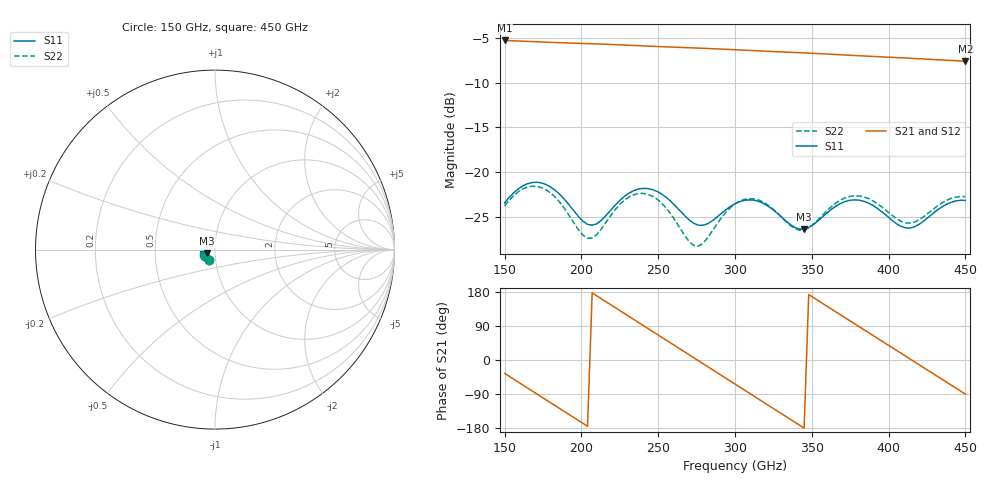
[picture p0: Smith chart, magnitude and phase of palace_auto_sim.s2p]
#  GHZ S DB R 50
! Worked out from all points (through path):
!   101 points, 150 GHz to 450 GHz, reference 50 ohm
!   highest |S21| = -5.29 dB at 150 GHz (marker M1); lowest = -7.6 dB at 450 GHz (marker M2)
!   group delay of S21, straight-line fit = 7.18 ps
!   lowest |S11| = -26.3 dB at 345 GHz (marker M3), VSWR 1.10, Z = 45.8 - j1.8 ohm
!   |S11| at or under -10 dB: start of sweep to end of sweep
!   |S22| runs from -28.3 to -21.6 dB; largest |S21 - S12| = 6e-14
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150  -23.42 -122.1  -5.29 -35.2  -5.29 -35.2  -23.76 -119.6
162  -21.51 -131.0  -5.37 -66.4  -5.37 -66.4  -21.85 -130.2
174  -21.19 -145.8  -5.46 -97.4  -5.46 -97.4  -21.71 -146.2
186  -22.48 -158.3  -5.54 -128.4  -5.54 -128.4  -23.36 -159.3
201  -25.46 -156.3  -5.62 -167.2  -5.62 -167.2  -27.03 -153.6
213  -25.36 -139.7  -5.69 161.7  -5.69 161.7  -26.33 -131.9
228  -22.69 -139.5  -5.80 122.7  -5.80 122.7  -23.12 -134.5
240  -21.80 -151.0  -5.89 91.7  -5.89 91.7  -22.36 -148.5
252  -22.41 -163.2  -5.98 60.7  -5.98 60.7  -23.41 -162.2
264  -24.26 -168.5  -6.06 29.7  -6.06 29.7  -26.18 -166.2
276  -25.90 -159.7  -6.14 -1.4  -6.14 -1.4  -28.25 -146.3
300  -23.51 -150.7  -6.32 -63.5  -6.32 -63.5  -23.54 -135.9
321  -23.72 -166.2  -6.49 -117.7  -6.49 -117.7  -23.60 -155.7
333  -25.42 -167.5  -6.59 -148.7  -6.59 -148.7  -25.47 -157.6
345  -26.35 -156.0  -6.68 -179.6  -6.68 -179.6  -26.44 -144.6
351  -25.85 -149.9  -6.73 164.9  -6.73 164.9  -25.80 -137.9
366  -23.75 -149.2  -6.86 126.1  -6.86 126.1  -23.40 -137.8
378  -23.08 -157.9  -6.97 95.2  -6.97 95.2  -22.63 -147.3
402  -25.33 -167.7  -7.17 33.5  -7.17 33.5  -24.77 -158.4
423  -25.43 -149.3  -7.36 -20.6  -7.36 -20.6  -24.93 -141.1
438  -23.55 -151.0  -7.50 -59.2  -7.50 -59.2  -23.11 -142.8
450  -23.14 -159.0  -7.61 -90.0  -7.61 -90.0  -22.72 -150.7
